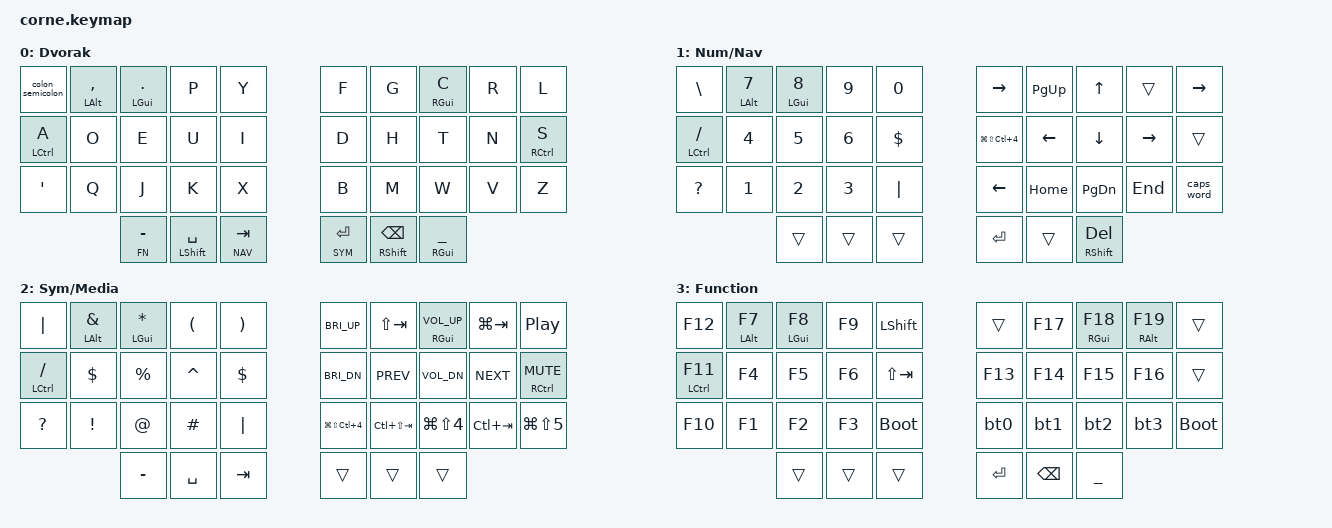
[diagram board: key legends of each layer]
/*
 * Custom ZMK Configuration for 5-Column Corne  
 * Dvorak layout with thumb-based layer activation
 * Clean implementation using built-in behaviors
 */

#include <behaviors.dtsi>
#include <dt-bindings/zmk/keys.h>
#include <dt-bindings/zmk/bt.h>

// Layer definitions
#define BASE 0
#define NAV  1
#define SYM  2  
#define FN   3

&caps_word {
    continue-list = <UNDERSCORE MINUS>;
};

/ {
    chosen {
        zmk,physical-layout = &foostan_corne_5col_layout;
    };

    macros {
        bt_0_clear: bt_0_clear {
            compatible = "zmk,behavior-macro";
            #binding-cells = <0>;
            wait-ms = <10>;
            bindings = <&bt BT_SEL 0>, <&bt BT_CLR>;
        };        
        bt_1_clear: bt_1_clear {
            compatible = "zmk,behavior-macro";
            #binding-cells = <0>;
            wait-ms = <10>;
            bindings = <&bt BT_SEL 1>, <&bt BT_CLR>;
        };
        bt_2_clear: bt_2_clear {
            compatible = "zmk,behavior-macro";
            #binding-cells = <0>;
            wait-ms = <10>;
            bindings = <&bt BT_SEL 2>, <&bt BT_CLR>;
        };
        bt_3_clear: bt_3_clear {
            compatible = "zmk,behavior-macro";
            #binding-cells = <0>;
            wait-ms = <10>;
            bindings = <&bt BT_SEL 3>, <&bt BT_CLR>;
        };
        semi_no_shift: semi_no_shift {
            compatible = "zmk,behavior-macro";
            #binding-cells = <0>;
            wait-ms = <0>;
            tap-ms = <10>;
            bindings = <&macro_release &kp LSHFT &kp RSHFT>
                    , <&macro_tap &kp SEMI>;
        };
        lbkt_no_shift: lbkt_no_shift {
            compatible = "zmk,behavior-macro";
            #binding-cells = <0>;
            wait-ms = <0>;
            tap-ms = <10>;
            bindings = <&macro_release &kp LSHFT &kp RSHFT>
                    , <&macro_tap &kp LBKT>;
        };
        rbkt_no_shift: rbkt_no_shift {
            compatible = "zmk,behavior-macro";
            #binding-cells = <0>;
            wait-ms = <0>;
            tap-ms = <10>;
            bindings = <&macro_release &kp LSHFT &kp RSHFT>
                    , <&macro_tap &kp RBKT>;
        };
    };

    behaviors {
        mt: mod_tap {
            compatible = "zmk,behavior-hold-tap";
            #binding-cells = <2>;
            flavor = "tap-preferred";
            tapping-term-ms = <200>;
            bindings = <&kp>, <&kp>;
            display-name = "Mod-Tap";
        };
        lt: layer_tap {
            compatible = "zmk,behavior-hold-tap";
            #binding-cells = <2>;
            flavor = "tap-preferred";
            tapping-term-ms = <150>;
            bindings = <&mo>, <&kp>;
            display-name = "Layer-Tap";
        };
        bt0: bluetooth_profile_0 {
            compatible = "zmk,behavior-mod-morph";
            #binding-cells = <0>;
            bindings = <&bt BT_SEL 0>, <&bt_0_clear>;
            mods = <(MOD_LSFT|MOD_RSFT)>;
        };
        bt1: bluetooth_profile_1 {
            compatible = "zmk,behavior-mod-morph";
            #binding-cells = <0>;
            bindings = <&bt BT_SEL 1>, <&bt_1_clear>;
            mods = <(MOD_LSFT|MOD_RSFT)>;
        };        
        bt2: bluetooth_profile_2 {
            compatible = "zmk,behavior-mod-morph";
            #binding-cells = <0>;
            bindings = <&bt BT_SEL 2>, <&bt_2_clear>;
            mods = <(MOD_LSFT|MOD_RSFT)>;
        };
        bt3: bluetooth_profile_3 {
            compatible = "zmk,behavior-mod-morph";
            #binding-cells = <0>;
            bindings = <&bt BT_SEL 3>, <&bt_3_clear>;
            mods = <(MOD_LSFT|MOD_RSFT)>;
        };
        colon_semicolon: colon_semicolon {
            compatible = "zmk,behavior-mod-morph";
            #binding-cells = <0>;
            bindings = <&kp COLON>, <&semi_no_shift>;
            mods = <(MOD_LSFT|MOD_RSFT)>;
        };
        lpar_lbkt: left_paren_bracket {
            compatible = "zmk,behavior-mod-morph";
            #binding-cells = <0>;
            bindings = <&kp LPAR>, <&lbkt_no_shift>;
            mods = <(MOD_LSFT|MOD_RSFT)>;
        };
        rpar_rbkt: right_paren_bracket {
            compatible = "zmk,behavior-mod-morph";
            #binding-cells = <0>;
            bindings = <&kp RPAR>, <&rbkt_no_shift>;
            mods = <(MOD_LSFT|MOD_RSFT)>;
        };
    };

    /*
     * Combo definitions for enhanced typing efficiency
     */
    combos {
        compatible = "zmk,combos";        
        // All layer combos
        combo_esc {
            timeout-ms = <50>;
            key-positions = <22 23>;
            bindings = <&kp ESC>;
        };
        combo_esc_2 {
            timeout-ms = <50>;
            key-positions = <10 11>;
            bindings = <&kp ESC>;
        };
        combo_equal {
            timeout-ms = <50>;
            key-positions = <12 13>;
            bindings = <&kp EQUAL>;
        };
        combo_grave {
            timeout-ms = <50>;
            key-positions = <0 1>;
            bindings = <&kp GRAVE>;
        };
        combo_lbkt_2 {
            timeout-ms = <50>;
            key-positions = <6 7>;
            bindings = <&kp LBKT>;
        };
        combo_rbkt_2 {
            timeout-ms = <50>;
            key-positions = <7 8>;
            bindings = <&kp RBKT>;
        };

        // Layer combos
        combo_lpar {
            timeout-ms = <50>;
            key-positions = <1 2>;
            bindings = <&lpar_lbkt>;
            layers = <BASE>;
        };
        combo_rpar {
            timeout-ms = <50>;
            key-positions = <2 3>;
            bindings = <&rpar_rbkt>;
            layers = <BASE>;
        };
        combo_lbkt {
            timeout-ms = <50>;
            key-positions = <1 2>;
            bindings = <&kp LBKT>;
            layers = <NAV SYM>;
        };
        combo_rbkt {
            timeout-ms = <50>;
            key-positions = <2 3>;
            bindings = <&kp RBKT>;
            layers = <NAV SYM>;
        };
        combo_lbrc {
            timeout-ms = <50>;
            key-positions = <1 2>;
            bindings = <&kp LBRC>;
            layers = <FN>;
        };
        combo_rbrc {
            timeout-ms = <50>;
            key-positions = <2 3>;
            bindings = <&kp RBRC>;
            layers = <FN>;
        };
    };

    keymap {
        compatible = "zmk,keymap";

        /*
         * BASE LAYER: Dvorak with strategic modifier placement
         * Homerow mods: a/s = ctrl, comma/r = alt, dot/c = gui
         * Thumb layer-taps for navigation, symbols, and functions
         */
        base_layer {
            display-name = "Dvorak";
            bindings = <
    // ╭─────────────┬─────────────┬─────────────┬─────────────┬─────────────╮   ╭─────────────┬─────────────┬─────────────┬─────────────┬─────────────╮
         &colon_semicolon &mt LALT COMMA &mt LGUI DOT &kp P      &kp Y             &kp F         &kp G         &mt RGUI C    &kp R         &kp L
    // ├─────────────┼─────────────┼─────────────┼─────────────┼─────────────┤   ├─────────────┼─────────────┼─────────────┼─────────────┼─────────────┤
         &mt LCTRL A   &kp O         &kp E         &kp U         &kp I             &kp D         &kp H         &kp T         &kp N         &mt RCTRL S
    // ├─────────────┼─────────────┼─────────────┼─────────────┼─────────────┤   ├─────────────┼─────────────┼─────────────┼─────────────┼─────────────┤
         &kp SQT       &kp Q         &kp J         &kp K         &kp X             &kp B         &kp M         &kp W         &kp V         &kp Z
    // ╰─────────────┴─────────────┴─────────────┼─────────────┼─────────────┤   ├─────────────┼─────────────┼─────────────┴─────────────┴─────────────╯
                                     &lt FN MINUS &mt LSHFT SPACE &lt NAV TAB     &lt SYM RET   &mt RSHFT BSPC &mt RGUI UNDER
    //                             ╰─────────────┴─────────────┴─────────────╯   ╰─────────────┴─────────────┴─────────────╯
            >;
        };

        /*
         * NUM/NAV LAYER: Numbers, navigation, and brackets  
         * Calculator-style number layout with navigation cluster
         * Transparent del key for clean space+del interaction
         */
        nav_layer {
            display-name = "Num/Nav";
            bindings = <
    // ╭─────────────┬─────────────┬─────────────┬─────────────┬─────────────╮   ╭─────────────┬─────────────┬─────────────┬─────────────┬─────────────╮
         &kp BSLH      &mt LALT N7   &mt LGUI N8   &kp N9        &kp N0            &kp RIGHT      &kp PG_UP    &kp UP        &trans        &kp RIGHT
    // ├─────────────┼─────────────┼─────────────┼─────────────┼─────────────┤   ├─────────────┼─────────────┼─────────────┼─────────────┼─────────────┤
         &mt LCTRL FSLH  &kp N4      &kp N5        &kp N6        &kp DLLR          &kp LG(LS(LC(N4))) &kp LEFT &kp DOWN      &kp RIGHT     &trans
    // ├─────────────┼─────────────┼─────────────┼─────────────┼─────────────┤   ├─────────────┼─────────────┼─────────────┼─────────────┼─────────────┤
         &kp QMARK     &kp N1        &kp N2        &kp N3        &kp PIPE          &kp LEFT      &kp HOME      &kp PG_DN     &kp END       &caps_word
    // ╰─────────────┴─────────────┴─────────────┼─────────────┼─────────────┤   ├─────────────┼─────────────┼─────────────┴─────────────┴─────────────╯
                                     &trans        &trans        &trans            &kp RET       &trans       &mt RSHFT DEL
    //                             ╰─────────────┴─────────────┴─────────────╯   ╰─────────────┴─────────────┴─────────────╯
            >;
        };

        /*
         * SYM LAYER: Symbols (left hand only for mouse use)  
         * Programming symbols accessible without moving right hand
         */
        sym_layer {
            display-name = "Sym/Media";
            bindings = <
    // ╭─────────────┬─────────────┬─────────────┬─────────────┬─────────────╮   ╭─────────────┬─────────────┬─────────────┬─────────────┬─────────────╮
         &kp PIPE      &mt LALT AMPS &mt LGUI ASTRK &kp LPAR     &kp RPAR          &kp C_BRI_UP  &kp LS(TAB)   &mt RGUI C_VOL_UP &kp LG(TAB) &kp C_PP
    // ├─────────────┼─────────────┼─────────────┼─────────────┼─────────────┤   ├─────────────┼─────────────┼─────────────┼─────────────┼─────────────┤
         &mt LCTRL FSLH &kp DLLR     &kp PRCNT     &kp CARET     &kp DLLR          &kp C_BRI_DN  &kp C_PREV    &kp C_VOL_DN  &kp C_NEXT    &mt RCTRL C_MUTE
    // ├─────────────┼─────────────┼─────────────┼─────────────┼─────────────┤   ├─────────────┼─────────────┼─────────────┼─────────────┼─────────────┤
         &kp QMARK     &kp EXCL      &kp AT        &kp HASH      &kp PIPE          &kp LG(LS(LC(N4))) &kp LC(LS(TAB)) &kp LG(LS(N4)) &kp LC(TAB) &kp LG(LS(N5))
    // ╰─────────────┴─────────────┴─────────────┼─────────────┼─────────────┤   ├─────────────┼─────────────┼─────────────┴─────────────┴─────────────╯
                                     &kp MINUS     &kp SPACE     &kp TAB           &trans        &trans        &trans
    //                             ╰─────────────┴─────────────┴─────────────╯   ╰─────────────┴─────────────┴─────────────╯
            >;
        };

        /*
         * FN LAYER: Function keys, media controls, and system functions
         * F-key clusters with media controls and Bluetooth management
         * Transparent space key for repeatable spaces while in layer
         */
        fn_layer {
            display-name = "Function";
            bindings = <
    // ╭─────────────┬─────────────┬─────────────┬─────────────┬─────────────╮   ╭─────────────┬─────────────┬─────────────┬─────────────┬─────────────╮
         &kp F12       &mt LALT F7   &mt LGUI F8   &kp F9        &kp LSHFT         &trans        &kp F17       &mt RGUI F18  &mt RALT F19  &trans
    // ├─────────────┼─────────────┼─────────────┼─────────────┼─────────────┤   ├─────────────┼─────────────┼─────────────┼─────────────┼─────────────┤
         &mt LCTRL F11 &kp F4        &kp F5        &kp F6        &kp LS(TAB)       &kp F13       &kp F14       &kp F15       &kp F16       &trans
    // ├─────────────┼─────────────┼─────────────┼─────────────┼─────────────┤   ├─────────────┼─────────────┼─────────────┼─────────────┼─────────────┤
         &kp F10       &kp F1        &kp F2        &kp F3        &bootloader       &bt0          &bt1          &bt2          &bt3          &bootloader
    // ╰─────────────┴─────────────┴─────────────┼─────────────┼─────────────┤   ├─────────────┼─────────────┼─────────────┴─────────────┴─────────────╯
                                     &trans        &trans        &trans            &kp RET       &kp BSPC      &kp UNDER
    //                             ╰─────────────┴─────────────┴─────────────╯   ╰─────────────┴─────────────┴─────────────╯                              
            >;
        };
    };
};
